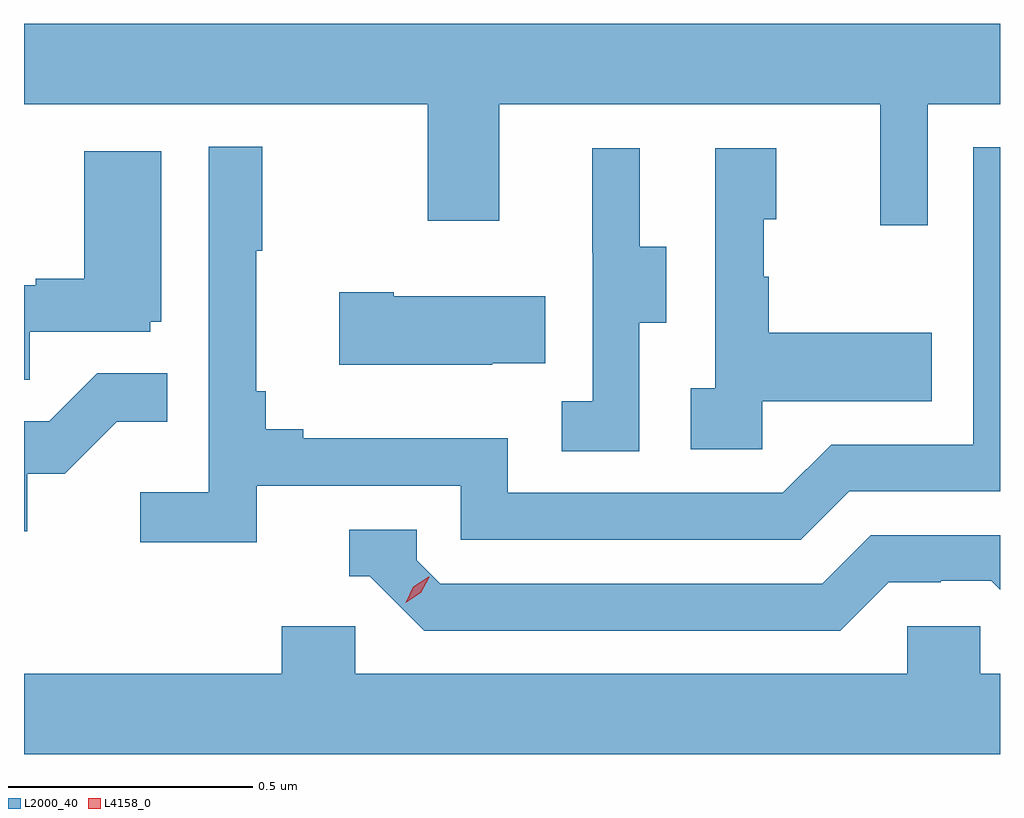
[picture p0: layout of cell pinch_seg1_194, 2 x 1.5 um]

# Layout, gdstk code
import gdstk
lib = gdstk.Library(unit=1e-6, precision=1e-09)
def P(c, l, *ps):  # polygons
    for p in ps: c.add(gdstk.Polygon(p, *l))
L2000_40 = (2000, 40)
L4158_0 = (4158, 0)

pinch_seg1_194 = lib.new_cell('pinch_seg1_194')
P(pinch_seg1_194, L2000_40, [(1127.445,550.4),(1127.593,550.4),(1127.593,550.564),(1125.593,550.564),(1125.593,550.4),(1126.42,550.4),(1126.42,550.161),(1126.567,550.161),(1126.567,550.4),(1127.348,550.4),(1127.348,550.152),(1127.445,550.152)],
  [(1126.07,549.618),(1126.488,549.618),(1126.488,549.507),(1127.185,549.507),(1127.284,549.606),(1127.593,549.606),(1127.593,550.311),(1127.538,550.311),(1127.538,549.702),(1127.247,549.702),(1127.148,549.603),(1126.584,549.603),(1126.584,549.715),(1126.165,549.715),(1126.165,549.734),(1126.088,549.734),(1126.088,549.811),(1126.069,549.811),(1126.069,550.099),(1126.081,550.099),(1126.081,550.312),(1125.972,550.312),(1125.972,549.604),(1125.831,549.604),(1125.831,549.502),(1126.07,549.502)],
  [(1127.106,549.791),(1127.453,549.791),(1127.453,549.931),(1127.119,549.931),(1127.119,550.046),(1127.109,550.046),(1127.109,550.164),(1127.134,550.164),(1127.134,550.309),(1127.01,550.309),(1127.01,549.818),(1126.959,549.818),(1126.959,549.693),(1127.106,549.693)],
  [(1126.854,549.952),(1126.909,549.952),(1126.909,550.107),(1126.855,550.107),(1126.855,550.309),(1126.757,550.309),(1126.757,550.095),(1126.758,550.095),(1126.758,549.791),(1126.695,549.791),(1126.695,549.688),(1126.854,549.688)],
  [(1125.605,549.933),(1125.852,549.933),(1125.852,549.954),(1125.874,549.954),(1125.874,550.303),(1125.716,550.303),(1125.716,550.042),(1125.617,550.042),(1125.617,550.029),(1125.593,550.029),(1125.593,549.835),(1125.605,549.835)],
  [(1126.553,549.869),(1126.661,549.869),(1126.661,550.006),(1126.351,550.006),(1126.351,550.014),(1126.239,550.014),(1126.239,549.866),(1126.553,549.866)],
  [(1125.6,549.642),(1125.676,549.642),(1125.783,549.749),(1125.887,549.749),(1125.887,549.848),(1125.743,549.848),(1125.645,549.75),(1125.593,549.75),(1125.593,549.525),(1125.6,549.525)],
  [(1127.365,549.42),(1127.472,549.42),(1127.472,549.423),(1127.575,549.423),(1127.593,549.405),(1127.593,549.516),(1127.328,549.516),(1127.229,549.417),(1126.446,549.417),(1126.398,549.465),(1126.398,549.528),(1126.259,549.528),(1126.259,549.432),(1126.302,549.432),(1126.413,549.321),(1127.266,549.321)],
  [(1127.593,549.232),(1127.553,549.232),(1127.553,549.33),(1127.403,549.33),(1127.403,549.232),(1126.272,549.232),(1126.272,549.33),(1126.121,549.33),(1126.121,549.232),(1125.593,549.232),(1125.593,549.068),(1127.593,549.068)])
P(pinch_seg1_194, L4158_0, [(1126.375,549.378),(1126.375,549.378),(1126.391,549.411),(1126.422,549.431),(1126.423,549.431),(1126.423,549.43),(1126.406,549.398),(1126.375,549.378)])

lib.write_gds('pinch_seg1_194.gds')
